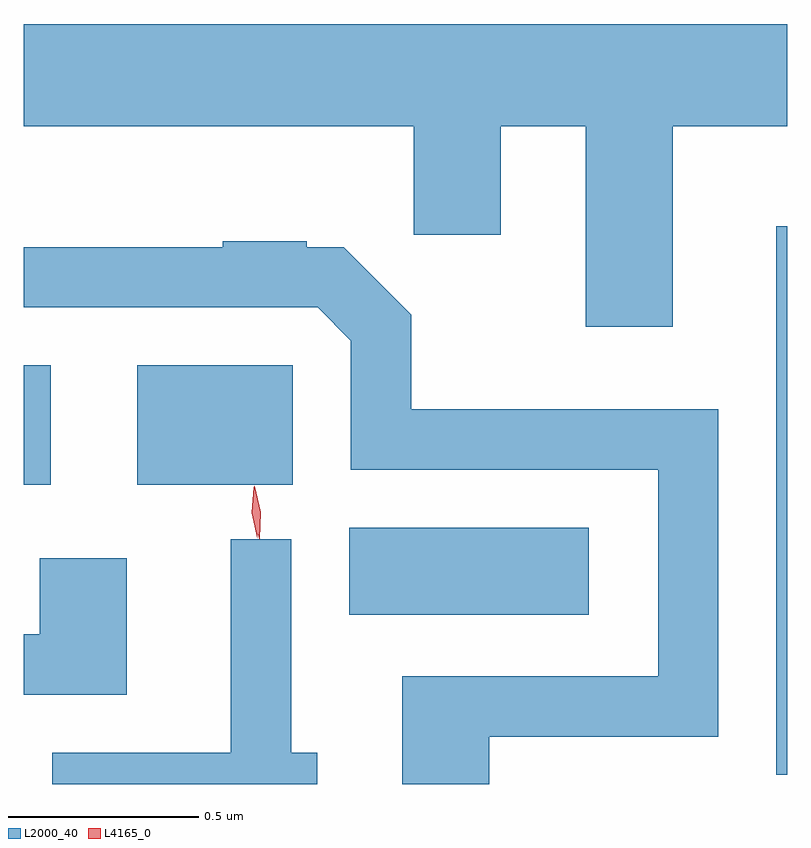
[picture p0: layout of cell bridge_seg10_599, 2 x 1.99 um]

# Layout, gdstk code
import gdstk
lib = gdstk.Library(unit=1e-6, precision=1e-09)
def R(c, l, rs):  # rectangles x0, y0, x1, y1
    for r in rs: c.add(gdstk.rectangle(r[:2], r[2:], *l))
def P(c, l, *ps):  # polygons
    for p in ps: c.add(gdstk.Polygon(p, *l))
L2000_40 = (2000, 40)
L4165_0 = (4165, 0)

bridge_seg10_599 = lib.new_cell('bridge_seg10_599')
R(bridge_seg10_599, L2000_40, [(806.171,2152.176,806.199,2153.614), (805.051,2152.596,805.679,2152.824), (804.199,2152.936,804.269,2153.249), (804.496,2152.936,804.904,2153.249)])
P(bridge_seg10_599, L2000_40, [(805.899,2153.876),(806.199,2153.876),(806.199,2154.144),(804.199,2154.144),(804.199,2153.876),(805.221,2153.876),(805.221,2153.591),(805.449,2153.591),(805.449,2153.876),(805.671,2153.876),(805.671,2153.351),(805.899,2153.351)],
  [(805.419,2152.276),(806.019,2152.276),(806.019,2153.134),(805.214,2153.134),(805.214,2153.382),(805.037,2153.559),(804.94,2153.559),(804.94,2153.574),(804.72,2153.574),(804.72,2153.559),(804.199,2153.559),(804.199,2153.401),(804.969,2153.401),(805.056,2153.314),(805.056,2152.976),(805.861,2152.976),(805.861,2152.434),(805.191,2152.434),(805.191,2152.152),(805.419,2152.152)],
  [(804.968,2152.234),(804.899,2152.234),(804.899,2152.793),(804.741,2152.793),(804.741,2152.234),(804.273,2152.234),(804.273,2152.152),(804.968,2152.152)],
  [(804.469,2152.744),(804.241,2152.744),(804.241,2152.544),(804.199,2152.544),(804.199,2152.386),(804.469,2152.386)])
P(bridge_seg10_599, L4165_0, [(804.816,2152.794),(804.816,2152.795),(804.8,2152.863),(804.803,2152.932),(804.803,2152.933),(804.804,2152.932),(804.82,2152.864),(804.817,2152.795)],
  [(804.81,2152.798),(804.796,2152.863),(804.801,2152.93),(804.801,2152.93),(804.802,2152.93),(804.816,2152.864),(804.811,2152.798),(804.811,2152.798)])

lib.write_gds('bridge_seg10_599.gds')
